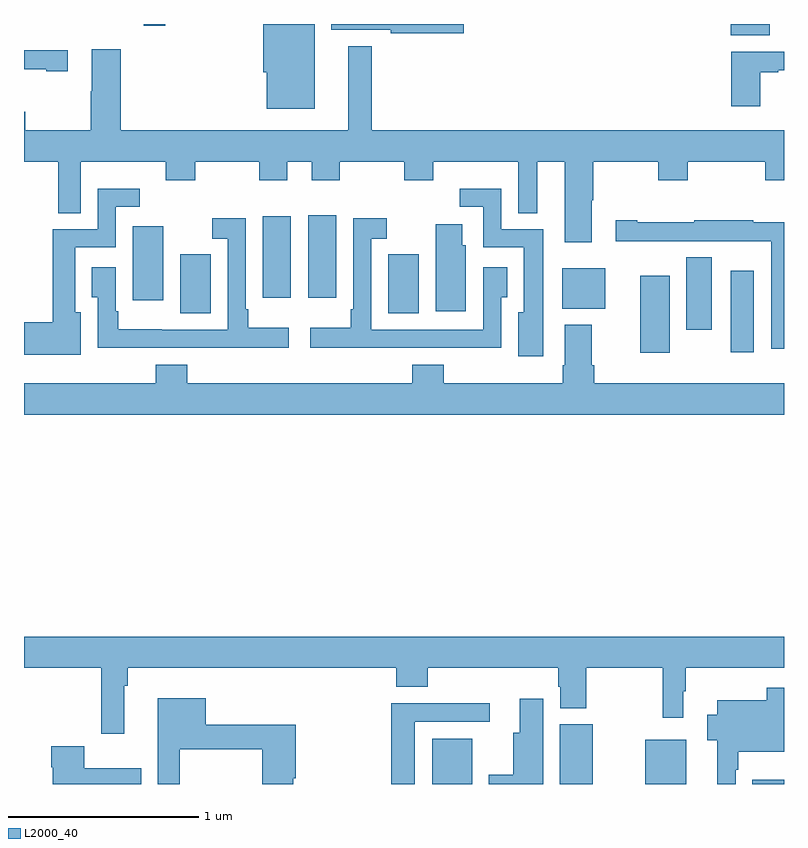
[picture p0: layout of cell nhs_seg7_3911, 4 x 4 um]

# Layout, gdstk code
import gdstk
lib = gdstk.Library(unit=1e-6, precision=1e-09)
def R(c, l, rs):  # rectangles x0, y0, x1, y1
    for r in rs: c.add(gdstk.rectangle(r[:2], r[2:], *l))
def P(c, l, *ps):  # polygons
    for p in ps: c.add(gdstk.Polygon(p, *l))
L2000_40 = (2000, 40)

nhs_seg7_3911 = lib.new_cell('nhs_seg7_3911')
R(nhs_seg7_3911, L2000_40, [(361.148,1004,361.36,1004.239), (361.82,1004,361.993,1004.314), (362.27,1004,362.485,1004.233), (362.834,1004,363,1004.023), (362.243,1006.269,362.398,1006.675), (362.72,1006.272,362.842,1006.702), (362.486,1006.392,362.62,1006.772), (359.822,1006.477,359.983,1006.788), (360.917,1006.477,361.078,1006.788), (361.832,1006.502,362.059,1006.714), (359.573,1006.547,359.734,1006.936), (360.257,1006.56,360.403,1006.987), (360.497,1006.56,360.643,1006.993), (362.72,1007.942,362.926,1008), (359.63,1007.99,359.743,1008)])
P(nhs_seg7_3911, L2000_40, [(360.529,1008),(360.26,1008),(360.26,1007.745),(360.278,1007.745),(360.278,1007.555),(360.529,1007.555)],
  [(361.315,1008),(360.617,1008),(360.617,1007.969),(360.93,1007.969),(360.93,1007.951),(361.315,1007.951)],
  [(359.51,1007.866),(359.357,1007.866),(359.357,1007.645),(359.35,1007.645),(359.35,1007.44),(359.007,1007.44),(359.007,1007.539),(359,1007.539),(359,1007.276),(359.181,1007.276),(359.181,1007.005),(359.299,1007.005),(359.299,1007.276),(359.746,1007.276),(359.746,1007.177),(359.901,1007.177),(359.901,1007.276),(360.238,1007.276),(360.238,1007.177),(360.385,1007.177),(360.385,1007.276),(360.515,1007.276),(360.515,1007.177),(360.663,1007.177),(360.663,1007.276),(361,1007.276),(361,1007.177),(361.155,1007.177),(361.155,1007.276),(361.601,1007.276),(361.601,1007.005),(361.702,1007.005),(361.702,1007.276),(361.847,1007.276),(361.847,1006.851),(361.987,1006.851),(361.987,1007.072),(361.995,1007.072),(361.995,1007.276),(362.338,1007.276),(362.338,1007.177),(362.493,1007.177),(362.493,1007.276),(362.902,1007.276),(362.902,1007.177),(363,1007.177),(363,1007.44),(360.829,1007.44),(360.829,1007.884),(360.707,1007.884),(360.707,1007.44),(359.51,1007.44)],
  [(359.23,1007.861),(359,1007.861),(359,1007.761),(359.117,1007.761),(359.117,1007.751),(359.23,1007.751)],
  [(362.875,1007.745),(362.971,1007.745),(362.971,1007.757),(363,1007.757),(363,1007.854),(362.723,1007.854),(362.723,1007.568),(362.875,1007.568)],
  [(361.732,1006.92),(361.512,1006.92),(361.512,1007.134),(361.293,1007.134),(361.293,1007.037),(361.416,1007.037),(361.416,1006.824),(361.631,1006.824),(361.631,1006.483),(361.601,1006.483),(361.601,1006.251),(361.732,1006.251)],
  [(359.299,1006.483),(359.269,1006.483),(359.269,1006.824),(359.484,1006.824),(359.484,1007.037),(359.608,1007.037),(359.608,1007.134),(359.388,1007.134),(359.388,1006.92),(359.151,1006.92),(359.151,1006.43),(359,1006.43),(359,1006.259),(359.299,1006.259)],
  [(360.925,1006.296),(361.291,1006.296),(361.291,1006.295),(361.512,1006.295),(361.512,1006.561),(361.543,1006.561),(361.543,1006.72),(361.416,1006.72),(361.416,1006.392),(360.828,1006.392),(360.828,1006.869),(360.91,1006.869),(360.91,1006.978),(360.732,1006.978),(360.732,1006.498),(360.72,1006.498),(360.72,1006.402),(360.507,1006.402),(360.507,1006.295),(360.925,1006.295)],
  [(359.609,1006.296),(359.975,1006.296),(359.975,1006.295),(360.394,1006.295),(360.394,1006.402),(360.181,1006.402),(360.181,1006.498),(360.168,1006.498),(360.168,1006.978),(359.991,1006.978),(359.991,1006.869),(360.072,1006.869),(360.072,1006.392),(359.726,1006.392),(359.726,1006.393),(359.497,1006.393),(359.497,1006.489),(359.484,1006.489),(359.484,1006.72),(359.357,1006.72),(359.357,1006.561),(359.388,1006.561),(359.388,1006.295),(359.609,1006.295)],
  [(363,1006.956),(362.837,1006.956),(362.837,1006.966),(362.527,1006.966),(362.527,1006.956),(362.227,1006.956),(362.227,1006.966),(362.115,1006.966),(362.115,1006.856),(362.39,1006.856),(362.39,1006.857),(362.724,1006.857),(362.724,1006.856),(362.934,1006.856),(362.934,1006.29),(363,1006.29)],
  [(361.324,1006.836),(361.306,1006.836),(361.306,1006.945),(361.166,1006.945),(361.166,1006.488),(361.324,1006.488)],
  [(363,1006.108),(362,1006.108),(362,1006.204),(361.987,1006.204),(361.987,1006.417),(361.847,1006.417),(361.847,1006.204),(361.835,1006.204),(361.835,1006.108),(361.208,1006.108),(361.208,1006.207),(361.043,1006.207),(361.043,1006.108),(359.858,1006.108),(359.858,1006.207),(359.693,1006.207),(359.693,1006.108),(359,1006.108),(359,1005.944),(363,1005.944)],
  [(359.527,1004.516),(359.545,1004.516),(359.545,1004.612),(360.959,1004.612),(360.959,1004.513),(361.124,1004.513),(361.124,1004.612),(361.811,1004.612),(361.811,1004.511),(361.823,1004.511),(361.823,1004.399),(361.959,1004.399),(361.959,1004.612),(362.361,1004.612),(362.361,1004.349),(362.469,1004.349),(362.469,1004.489),(362.482,1004.489),(362.482,1004.612),(363,1004.612),(363,1004.776),(359,1004.776),(359,1004.612),(359.406,1004.612),(359.406,1004.265),(359.527,1004.265)],
  [(362.745,1004.075),(362.758,1004.075),(362.758,1004.171),(363,1004.171),(363,1004.506),(362.91,1004.506),(362.91,1004.44),(362.648,1004.44),(362.648,1004.365),(362.597,1004.365),(362.597,1004.231),(362.648,1004.231),(362.648,1004),(362.745,1004)],
  [(359.819,1004.182),(360.253,1004.182),(360.253,1004),(360.418,1004),(360.418,1004.029),(360.431,1004.029),(360.431,1004.311),(359.956,1004.311),(359.956,1004.452),(359.705,1004.452),(359.705,1004),(359.819,1004)],
  [(361.732,1004.449),(361.61,1004.449),(361.61,1004.269),(361.574,1004.269),(361.574,1004.05),(361.445,1004.05),(361.445,1004),(361.732,1004)],
  [(361.057,1004.328),(361.45,1004.328),(361.45,1004.426),(360.932,1004.426),(360.932,1004),(361.057,1004)],
  [(359.617,1004.083),(359.316,1004.083),(359.316,1004.2),(359.143,1004.2),(359.143,1004.087),(359.15,1004.087),(359.15,1004),(359.617,1004)])

lib.write_gds('nhs_seg7_3911.gds')
